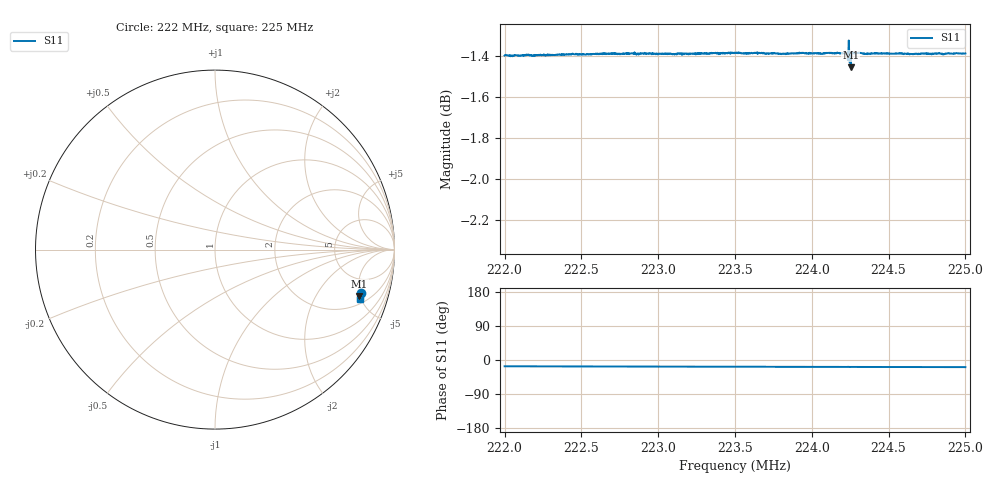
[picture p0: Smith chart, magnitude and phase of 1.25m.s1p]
! Calibrated averaged scanner-service zoom
# Hz S RI R 50
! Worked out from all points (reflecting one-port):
!   1001 points, 222 MHz to 225 MHz, reference 50 ohm
!   lowest |S11| = -1.5 dB at 224.25 MHz (marker M1), VSWR 11.97, Z = 134 - j245 ohm
!   phase of S11 starts at -17 deg and turns -2 deg over the sweep
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2.22e8  0.8157 -0.2436
2.22375e8  0.8151 -0.2478
2.22642e8  0.8145 -0.2506
2.2275e8  0.8141 -0.2522
2.22855e8  0.8137 -0.2532
2.23125e8  0.813 -0.2561
2.23266e8  0.8126 -0.2574
2.235e8  0.8119 -0.2602
2.23875e8  0.8105 -0.264
2.24058e8  0.8098 -0.2655
2.24217e8  0.8092 -0.2674
2.2422e8  0.8094 -0.2672
2.24223e8  0.8091 -0.2672
2.24226e8  0.8094 -0.2676
2.24235e8  0.8077 -0.2618
2.24238e8  0.8092 -0.2676
2.2425e8  0.8096 -0.2677
2.24253e8  0.8045 -0.2611
2.24256e8  0.808 -0.2673
2.24259e8  0.8093 -0.2677
2.24268e8  0.8095 -0.2678
2.24271e8  0.8093 -0.2677
2.24274e8  0.8091 -0.2678
2.24304e8  0.8093 -0.2686
2.24346e8  0.8087 -0.2685
2.24403e8  0.8086 -0.2694
2.24625e8  0.8077 -0.2711
2.25e8  0.8066 -0.2752
